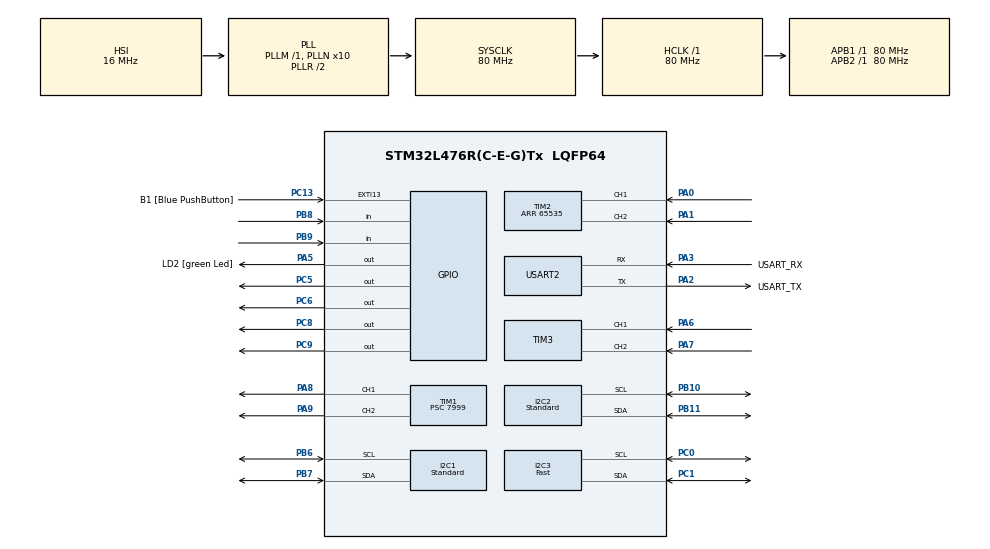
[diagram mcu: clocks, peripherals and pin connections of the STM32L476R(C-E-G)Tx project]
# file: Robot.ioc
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I2C1.I2C_Speed_Mode=I2C_Standard
I2C1.Timing=0x10D19CE4
I2C2.I2C_Speed_Mode=I2C_Standard
I2C2.Timing=0x10D19CE4
I2C3.I2C_Speed_Mode=I2C_Fast
I2C3.Timing=0x00F12981
Mcu.Family=STM32L4
Mcu.Name=STM32L476R(C-E-G)Tx
Mcu.Package=LQFP64
NVIC.PriorityGroup=NVIC_PRIORITYGROUP_4
NVIC.TIM6_DAC_IRQn=true\:0\:0\:false\:false\:true\:true\:true\:true
NVIC.USART2_IRQn=true\:0\:0\:false\:false\:true\:true\:true\:true
PA0.Signal=S_TIM2_CH1
PA1.Signal=S_TIM2_CH2
PA13\ (JTMS-SWDIO).GPIO_Label=TMS
PA13\ (JTMS-SWDIO).Mode=Serial_Wire
PA13\ (JTMS-SWDIO).Signal=SYS_JTMS-SWDIO
PA14\ (JTCK-SWCLK).GPIO_Label=TCK
PA14\ (JTCK-SWCLK).Mode=Serial_Wire
PA14\ (JTCK-SWCLK).Signal=SYS_JTCK-SWCLK
PA2.GPIO_Label=USART_TX
PA2.GPIO_Mode=GPIO_MODE_AF_PP
PA2.GPIO_PuPd=GPIO_NOPULL
PA2.GPIO_Speed=GPIO_SPEED_FREQ_VERY_HIGH
PA2.Mode=Asynchronous
PA2.Signal=USART2_TX
PA3.GPIO_Label=USART_RX
PA3.GPIO_Mode=GPIO_MODE_AF_PP
PA3.GPIO_PuPd=GPIO_NOPULL
PA3.GPIO_Speed=GPIO_SPEED_FREQ_VERY_HIGH
PA3.Mode=Asynchronous
PA3.Signal=USART2_RX
PA5.GPIO_Label=LD2 [green Led]
PA5.GPIO_ModeDefaultOutputPP=GPIO_MODE_OUTPUT_PP
PA5.GPIO_PuPd=GPIO_NOPULL
PA5.GPIO_Speed=GPIO_SPEED_FREQ_LOW
PA5.Signal=GPIO_Output
PA6.Signal=S_TIM3_CH1
PA7.Signal=S_TIM3_CH2
PA8.Signal=S_TIM1_CH1
PA9.Signal=S_TIM1_CH2
PB10.Mode=I2C
PB10.Signal=I2C2_SCL
PB11.Mode=I2C
PB11.Signal=I2C2_SDA
PB3\ (JTDO-TRACESWO).GPIO_Label=SWO
PB3\ (JTDO-TRACESWO).Signal=SYS_JTDO-SWO
PB6.Mode=I2C
PB6.Signal=I2C1_SCL
PB7.Mode=I2C
PB7.Signal=I2C1_SDA
PB8.Signal=GPIO_Input
PB9.Signal=GPIO_Input
PC0.Mode=I2C
PC0.Signal=I2C3_SCL
PC1.Mode=I2C
PC1.Signal=I2C3_SDA
PC13.GPIO_Label=B1 [Blue PushButton]
PC13.GPIO_ModeDefaultEXTI=GPIO_MODE_IT_FALLING
PC13.GPIO_PuPd=GPIO_NOPULL
PC13.Signal=GPXTI13
PC14-OSC32_IN\ (PC14).Mode=LSE-External-Oscillator
PC14-OSC32_IN\ (PC14).Signal=RCC_OSC32_IN
PC15-OSC32_OUT\ (PC15).Mode=LSE-External-Oscillator
PC15-OSC32_OUT\ (PC15).Signal=RCC_OSC32_OUT
PC5.Signal=GPIO_Output
PC6.Signal=GPIO_Output
PC8.Signal=GPIO_Output
PC9.Signal=GPIO_Output
PH0-OSC_IN\ (PH0).Signal=RCC_OSC_IN
PH1-OSC_OUT\ (PH1).Signal=RCC_OSC_OUT
ProjectManager.HeapSize=0x200
ProjectManager.StackSize=0x400
ProjectManager.TargetToolchain=STM32CubeIDE
RCC.ADCFreq_Value=64000000
RCC.AHBFreq_Value=80000000
RCC.APB1Freq_Value=80000000
RCC.APB1TimFreq_Value=80000000
RCC.APB2Freq_Value=80000000
RCC.APB2TimFreq_Value=80000000
RCC.CortexFreq_Value=80000000
RCC.HCLKFreq_Value=80000000
RCC.HSE_VALUE=8000000
RCC.HSI_VALUE=16000000
RCC.MSI_VALUE=4000000
RCC.PLLN=10
RCC.PLLSourceVirtual=RCC_PLLSOURCE_HSI
RCC.PREFETCH_ENABLE=1
RCC.SYSCLKFreq_VALUE=80000000
RCC.SYSCLKSource=RCC_SYSCLKSOURCE_PLLCLK
RCC.USBFreq_Value=64000000
RCC.VCOOutputFreq_Value=160000000
SH.S_TIM1_CH1.0=TIM1_CH1,PWM Generation1 CH1
SH.S_TIM1_CH2.0=TIM1_CH2,PWM Generation2 CH2
SH.S_TIM2_CH1.0=TIM2_CH1,Encoder_Interface
SH.S_TIM2_CH2.0=TIM2_CH2,Encoder_Interface
SH.S_TIM3_CH1.0=TIM3_CH1,Encoder_Interface
SH.S_TIM3_CH2.0=TIM3_CH2,Encoder_Interface
TIM1.Channel-PWM\ Generation1\ CH1=TIM_CHANNEL_1
TIM1.Channel-PWM\ Generation2\ CH2=TIM_CHANNEL_2
TIM1.Period=999
TIM1.Prescaler=7999
TIM2.EncoderMode=TIM_ENCODERMODE_TI12
TIM2.IC1Filter=15
TIM2.IC1Prescaler=TIM_ICPSC_DIV8
TIM2.Period=65535
TIM3.EncoderMode=TIM_ENCODERMODE_TI12
TIM3.IC1Filter=15
TIM3.IC1Prescaler=TIM_ICPSC_DIV8
TIM6.Period=1000-1
TIM6.Prescaler=7999
USART2.SwapParam=ADVFEATURE_SWAP_DISABLE
USART2.VirtualMode-Asynchronous=VM_ASYNC
VP_TIM6_VS_ClockSourceINT.Mode=Enable_Timer
board=NUCLEO-L476RG

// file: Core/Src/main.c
/* USER CODE BEGIN Header */
/**
  ******************************************************************************
  * @file           : main.c
  * @brief          : Główny plik programu
  ******************************************************************************
  * @attention
  *
  * Prawa autorskie (c) 2024 STMicroelectronics.
  * Wszelkie prawa zastrzeżone.
  *
  ******************************************************************************
  */
/* USER CODE END Header */
#include "main.h"
#include "i2c.h"
#include "tim.h"
#include "usart.h"
#include "gpio.h"

#include "motors.h"
#include "sensors.h"
#include "odometry.h"
#include "pid.h"
#include "communication.h"
#include <string.h>

/* USER CODE BEGIN Includes */

#define LED_GPIO_PORT GPIOA
#define LED_PIN GPIO_PIN_5

volatile uint8_t isProcessing = 0;

/* USER CODE END Includes */

void SystemClock_Config(void);
/* USER CODE BEGIN PFP */
// Deklaracje funkcji

/* USER CODE END PFP */

/* USER CODE BEGIN 0 */

// Funkcja do obsługi printf przez UART

void toggleLED(void) {
    HAL_GPIO_TogglePin(LED_GPIO_PORT, LED_PIN);
    HAL_Delay(100);  // Krótkie mignięcie
    HAL_GPIO_TogglePin(LED_GPIO_PORT, LED_PIN);
}

int _write(int file, char* ptr, int len){
    HAL_UART_Transmit(&huart2, (uint8_t *)ptr, len, HAL_MAX_DELAY);
    return len;
}

// Funkcja wywoływana przy przepełnieniu timera
void HAL_TIM_PeriodElapsedCallback(TIM_HandleTypeDef *htim) {
    if (htim == &htim6) {

        count = __HAL_TIM_GET_COUNTER(&htim2);
        count1 = __HAL_TIM_GET_COUNTER(&htim3);

        __HAL_TIM_SET_COUNTER(&htim2, 0);
        __HAL_TIM_SET_COUNTER(&htim3, 0);

        speed_L = count;
        speed_R = count1;

    }
}

// Funkcja do przetwarzania danych odebranych przez UART

// Callback dla przerwania UART
void HAL_UART_RxCpltCallback(UART_HandleTypeDef *huart) {
    if (huart->Instance == USART2) {
        if (Rx_data == MSG_HEADER) {
            isReceiving = 1;
            bufferIndex = 0;
        }
        else if (isReceiving) {
            if (Rx_data == MSG_FOOTER) {
                messageBuffer[bufferIndex] = '\0';
                ProcessCommand(messageBuffer);
                isReceiving = 0;
            }
            else if (bufferIndex < MAX_MSG_LEN - 1) {
                messageBuffer[bufferIndex++] = Rx_data;
            }
        }

        HAL_UART_Receive_IT(&huart2, (uint8_t*)&Rx_data, 1);
    }
}

// Inicjalizacja regulatora PID

// Ustawienie nowego setpointu dla regulatora PID

/* USER CODE END 0 */

int main(void)
{

  /* USER CODE BEGIN 1 */
  // Inicjalizacja zmiennych, struktur, PID itd.
  Odometry_Init(&odom);
  PID_Init(&pid_L, 6, 1.5, 0.1, 1);
  PID_Init(&pid_R, 6, 1.5, 0.3, 1);
  SetTarget(&target, 0.5f, 0);

  /* USER CODE END 1 */

  /* MCU Configuration--------------------------------------------------------*/

  /* Reset of all peripherals, Initializes the Flash interface and the Systick. */
  HAL_Init();

  GPIO_InitTypeDef GPIO_InitStruct = {0};
   GPIO_InitStruct.Pin = LED_PIN;
   GPIO_InitStruct.Mode = GPIO_MODE_OUTPUT_PP;
   GPIO_InitStruct.Pull = GPIO_NOPULL;
   GPIO_InitStruct.Speed = GPIO_SPEED_FREQ_LOW;
   HAL_GPIO_Init(LED_GPIO_PORT, &GPIO_InitStruct);

  /* USER CODE BEGIN Init */
  // Twoja inicjalizacja
  /* USER CODE END Init */

  /* Configure the system clock */
  SystemClock_Config();

  /* USER CODE BEGIN SysInit */
  // Dodatkowa konfiguracja systemu, jeśli potrzebna
  /* USER CODE END SysInit */

  /* Initialize all configured peripherals */
  MX_GPIO_Init();
  MX_USART2_UART_Init();
  MX_TIM1_Init();
  MX_TIM2_Init();
  MX_TIM3_Init();
  MX_TIM6_Init();
  MX_I2C3_Init();
  MX_I2C1_Init();
  MX_I2C2_Init();
  /* USER CODE BEGIN 2 */

  uint8_t* rx_ptr = (uint8_t*)&Rx_data;
  HAL_UART_Receive_IT(&huart2, rx_ptr, 1);

  HAL_TIM_PWM_Start(&htim1, TIM_CHANNEL_1);
  HAL_TIM_PWM_Start(&htim1, TIM_CHANNEL_2);

  HAL_TIM_Encoder_Start(&htim2, TIM_CHANNEL_ALL);
  HAL_TIM_Encoder_Start(&htim3, TIM_CHANNEL_ALL);

  HAL_UART_Receive_IT(&huart2, (uint8_t*)&Rx_data, 1);

 // __HAL_TIM_SET_COMPARE(&htim1, TIM_CHANNEL_1, 200);
 // __HAL_TIM_SET_COMPARE(&htim1, TIM_CHANNEL_2, 200);

  HAL_TIM_Base_Start_IT(&htim6);

  // Skanowanie urządzeń I2C
  Scan_I2C_Devices();

  // Inicjalizacja czujników
  init_sensors();

  // Przypisanie uchwytów I2C do sensorHandles
  // Jeśli nie jest to konieczne, można to pominąć
  /*
  sensorHandles[0].i2c_handle = &hi2c1;
  sensorHandles[1].i2c_handle = &hi2c2;
  sensorHandles[2].i2c_handle = &hi2c3;
  */

  InitCommunication();

  // Informacja o starcie systemu
  HAL_UART_Transmit(&huart2, (uint8_t*)"System Ready\r\n", 13, 100);

  //SetMotorDirection(0,0);

  uint32_t prev_time = HAL_GetTick();

  /* USER CODE END 2 */

  /* Infinite loop */
  /* USER CODE BEGIN WHILE */
  while (1)
  {

      read_sensors();

 //     __HAL_TIM_SET_COMPARE(&htim1, TIM_CHANNEL_1, 200);
 //     __HAL_TIM_SET_COMPARE(&htim1, TIM_CHANNEL_2, 200);
      //printf("jaminkkkk \r\n");

      // Aktualizacja odometrii
      uint32_t current_time = HAL_GetTick();
      dt = (current_time - prev_time) / 1000.0f; // Konwersja ms na s
      prev_time = current_time;

 //     Update_Odometry(&odom, speed_L, speed_R, dt);

      SendPWMFeedback(pwm_L, pwm_R);
      // Obliczanie prędkości docelowych
      //CalculateTargetSpeed(&odom, &target, &speed_L_target, &speed_R_target);

      // Ustawienie nowego setpointu dla regulatorów PID
      //SetSpeed(&pid_L, speed_L_target);
      //SetSpeed(&pid_R, speed_R_target);

      // Aktualizacja sterowania PID
      //pwm_L = PID_Compute(&pid_L, speed_L, dt);
      //pwm_R = PID_Compute(&pid_R, speed_R, dt);

      // Sterowanie silnikami na podstawie wyjść z regulatorów PID
      //__HAL_TIM_SET_COMPARE(&htim1, TIM_CHANNEL_1, (uint32_t)pwm_L);
      //__HAL_TIM_SET_COMPARE(&htim1, TIM_CHANNEL_2, (uint32_t)pwm_R);

      // Wysyłanie danych do aplikacji Qt
      //SendDataToQt(&odom, &target, pwm_L, pwm_R, speed_L, speed_R);

      HAL_Delay(1000); // Odpowiedni delay, aby nie przeciążać magistrali I2C

    /* USER CODE END WHILE */

    /* USER CODE BEGIN 3 */
    // Twoje pozostałe funkcje, np. odometria, PID, sterowanie silnikami itd.
  }
  /* USER CODE END 3 */
}

void SystemClock_Config(void)
{
  RCC_OscInitTypeDef RCC_OscInitStruct = {0};
  RCC_ClkInitTypeDef RCC_ClkInitStruct = {0};

  /** Configure the main internal regulator output voltage
  */
  if (HAL_PWREx_ControlVoltageScaling(PWR_REGULATOR_VOLTAGE_SCALE1) != HAL_OK)
  {
    Error_Handler();
  }

  /** Initializes the RCC Oscillators according to the specified parameters
  * in the RCC_OscInitTypeDef structure.
  */
  RCC_OscInitStruct.OscillatorType = RCC_OSCILLATORTYPE_HSI;
  RCC_OscInitStruct.HSIState = RCC_HSI_ON;
  RCC_OscInitStruct.HSICalibrationValue = RCC_HSICALIBRATION_DEFAULT;
  RCC_OscInitStruct.PLL.PLLState = RCC_PLL_ON;
  RCC_OscInitStruct.PLL.PLLSource = RCC_PLLSOURCE_HSI;
  RCC_OscInitStruct.PLL.PLLM = 1;
  RCC_OscInitStruct.PLL.PLLN = 10;
  RCC_OscInitStruct.PLL.PLLP = RCC_PLLP_DIV7;
  RCC_OscInitStruct.PLL.PLLQ = RCC_PLLQ_DIV2;
  RCC_OscInitStruct.PLL.PLLR = RCC_PLLR_DIV2;
  if (HAL_RCC_OscConfig(&RCC_OscInitStruct) != HAL_OK)
  {
    Error_Handler();
  }

  /** Initializes the CPU, AHB and APB buses clocks
  */
  RCC_ClkInitStruct.ClockType = RCC_CLOCKTYPE_HCLK|RCC_CLOCKTYPE_SYSCLK
                              |RCC_CLOCKTYPE_PCLK1|RCC_CLOCKTYPE_PCLK2;
  RCC_ClkInitStruct.SYSCLKSource = RCC_SYSCLKSOURCE_PLLCLK;
  RCC_ClkInitStruct.AHBCLKDivider = RCC_SYSCLK_DIV1;
  RCC_ClkInitStruct.APB1CLKDivider = RCC_HCLK_DIV1;
  RCC_ClkInitStruct.APB2CLKDivider = RCC_HCLK_DIV1;

  if (HAL_RCC_ClockConfig(&RCC_ClkInitStruct, FLASH_LATENCY_4) != HAL_OK)
  {
    Error_Handler();
  }
}

void Error_Handler(void)
{
  __disable_irq();
  while (1)
  {
  }
}
